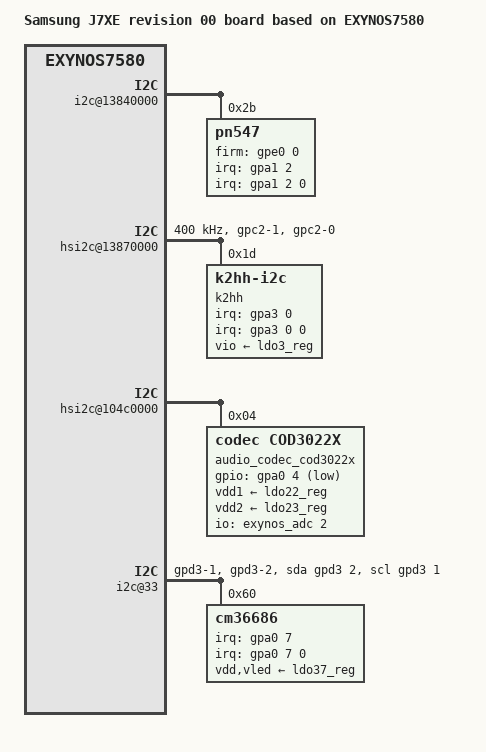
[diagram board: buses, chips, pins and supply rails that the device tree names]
/*
 * SAMSUNG A7XE board device tree source
 *
 * Copyright (c) 2014 Samsung Electronics Co., Ltd.
 *		http://www.samsung.com
 *
 * This program is free software; you can redistribute it and/or modify
 * it under the terms of the GNU General Public License version 2 as
 * published by the Free Software Foundation.
 */

/dts-v1/;
#include "exynos7580-reserve-2000MB-Ax.dtsi"
#include "exynos7580-j7xelte_common.dtsi"
#include "modem-carmen2-reserve-2000MB.dtsi"
#include "exynos7580-j7xelte_battery_00.dtsi"
#include "exynos7580-j7xelte_chn_cmcc_gpio_00.dtsi"
#include "exynos7580-a7xelte_mst_00.dtsi"

/ {
	model = "Samsung J7XE revision 00 board based on EXYNOS7580";
	model_info-chip = <7580>;
	model_info-platform = "android";
	model_info-subtype = "samsung";
	model_info-hw_rev = <0>;
	model_info-hw_rev_end = <0>;
	compatible = "samsung,exynos7580-universal7580,r01", "samsung,exynos7580";

	pinctrl@139B0000 {
		pmic_irq: pmic-irq {
			samsung,pins = "gpa0-2";
			samsung,pin-pud = <3>;
			samsung,pin-drv = <3>;
		};
		cod3022_irq: cod3022-irq {
			samsung,pins = "gpa0-4";
			samsung,pin-pud = <3>;
			samsung,pin-drv = <3>;
		};
		if_irq: if-irq {
			samsung,pins = "gpa0-5";
			samsung,pin-pud = <3>;
			samsung,pin-drv = <3>;
		};
		ps_als: ps_als {
			samsung,pins = "gpa0-7";
			samsung,pin-function = <0x0>;
			samsung,pin-pud = <0>;
			samsung,pin-drv = <0>;
		};
		attn_irq: attn-irq {
			samsung,pins = "gpa1-1";
			samsung,pin-function = <0xf>;
			samsung,pin-pud = <3>;
			samsung,pin-drv = <0>;
		};
		muic_irq: muic-irq {
			samsung,pins = "gpa1-3";
			samsung,pin-pud = <0>;
			samsung,pin-drv = <0>;
		};
		bhy_int: bhy-int {
			samsung,pins = "gpa3-0";
			samsung,pin-function = <0>;
			samsung,pin-pud = <1>;
			samsung,pin-drv = <0>;
		};
		dwmmc2_cd_ext_irq: dwmmc2_cd_ext_irq {
			samsung,pins = "gpa3-1";
			samsung,pin-function = <0xf>;
			samsung,pin-pud = <0>;
			samsung,pin-drv = <0>;
		};
		gpiodetect_irq: gpiodetect-irq {
			samsung,pins = "gpa3-4";
			samsung,pin-function = <0>;
			samsung,pin-pud = <0>;
			samsung,pin-drv = <0>;
		};
/*
		certify_hall_irq: certify-hall-irq {
			samsung,pins = "gpa3-5";
			samsung,pin-function = <0xf>;
			samsung,pin-pud = <0>;
			samsung,pin-drv = <0>;
		};

		hall_irq: hall_irq {
			samsung,pins = "gpa3-5";
			samsung,pin-function = <0xf>;
			samsung,pin-pud = <0>;
			samsung,pin-drv = <0>;
		};
*/
	};

	pinctrl@139C0000 {
		optical: optical {
			samsung,pins = "gpd3-1", "gpd3-2";
			samsung,pin-function = <0>;
			samsung,pin-pud = <0>;
			samsung,pin-drv = <0>;
		};
		sensor_i2c: sensor_i2c {
			samsung,pins = "gpc2-1", "gpc2-0";
			samsung,pin-function = <2>;
			samsung,pin-pud = <0>;
		};
		main_mic_bias_en:main-mic-bias-en {
			samsung,pins ="gpd2-7";
			samsung,pin-function = <1>;
			samsung,pin-pud = <0>;
			samsung,pin-con-pdn = <3>;
			samsung,pin-pud-pdn = <0>;
			samsung,pin-val = <0>;
		};
		/* Warm reset information from AP */
		pm_wrsti: pm-wrsti {
			samsung,pins = "gpe1-0";
			samsung,pin-con-pdn = <3>;
		};
		dbmd_reset: dbmd-reset {
			samsung,pins ="gpf1-6";
			samsung,pin-function = <1>;
			samsung,pin-pud = <1>;
			samsung,pin-con-pdn =<3>;
			samsung,pin-pud-pdn = <1>;
			samsung,pin-val = <0>;
		};
		dbmd_wakeup: dbmd-wakeup {
			samsung,pins ="gpf1-7";
			samsung,pin-function = <1>;
			samsung,pin-pud = <1>;
			samsung,pin-con-pdn =<3>;
			samsung,pin-pud-pdn = <1>;
			samsung,pin-val = <0>;
		};
	};

	i2c@13840000 {
		status = "okay";
		samsung,i2c-sda-delay = <100>;
        	samsung,i2c-max-bus-freq = <400000>;
		pinctrl-names = "default";
		pinctrl-0 = <&i2c7_bus>;
		
		pn547@2B {
			compatible = "pn547";
			reg = <0x2B>;
			interrupts = <2 0 0>;
			interrupt-parent = <&gpa1>;
			pn547,nfc_pd = <&gpc3 2 0x2>;
			pn547,firm-gpio = <&gpe0 0 0>;
			pn547,irq-gpio = <&gpa1 2 0>;
			clkctrl-reg = <0x1046600C>;
			pn547,nfc_clkreq = <&gpc3 3 0x2>;
			pn547,i2c_1p8 = "vdd_ldo3";
			pinctrl-names = "default";
			pinctrl-0 = <&nfc_n5_firm &nfc_n5_clk_req &nfc_pd &nfc_int>;
		};
	};

	hsi2c@13870000 {
		status = "okay";
		/*samsung,hs-mode;*/
		clock-frequency = <400000>;
		#address-cells = <1>;
		#size-cells = <0>;
		pinctrl-names = "default";
		pinctrl-0 = <&sensor_i2c>;

		k2hh@1D {
			compatible = "k2hh-i2c";
			reg = <0x1D>;
			interrupt-parent = <&gpa3>;
			interrupts = <0 0 0>;
			k2hh,irq_gpio = <&gpa3 0 0>;
			k2hh,vio-supply = <&ldo3_reg>;
			k2hh,axis_map_x = <0>;
			k2hh,axis_map_y = <1>;
			k2hh,axis_map_z = <2>;
			k2hh,negate_x = <0>;
			k2hh,negate_y = <0>;
			k2hh,negate_z = <1>;
			k2hh,poll_interval = <100>;
			k2hh,min_interval = <2>;
		};
	};
	
	hsi2c@104c0000 {
		audio_codec_cod3022x: cod3022x@04 {
			compatible = "codec,cod3022x";
			reg = <0x04>;
			ten-bit-address;
			vdd1-supply = <&ldo22_reg>;
			vdd2-supply = <&ldo23_reg>;
			pinctrl-names = "default";
			pinctrl-0 = <&cod3022_irq>;
			interrupt-parent = <&gpa0>;
			gpios = <&gpa0 4 0xf>;
			/* Mic Bias: 0->2.1v, 1->2.5v, 2->2.6v, 3->3.0v */
			mic-bias1-voltage = <1>;
			mic-bias2-voltage = <1>;
			use-btn-adc-mode;
			io-channels = <&exynos_adc 2>;
			io-channel-names = "adc-jack";
			#io-channel-cells = <1>;
			io-channel-ranges;
			but-zones-list = <&but_zones 226 0 245>, /* send/end */
					<&but_zones 582 246 315>, /* google */
					<&but_zones 115 316 520>, /* vol up */
					<&but_zones 114 521 900>; /* vol down */
			mic-adc-range = <1380>;
			btn-release-value = <1000>;
			mic-det-delay = <40>;
		};
	};

	i2c@33 {
		compatible = "i2c-gpio";
		gpios = <&gpd3 2 0	/* sda */
			&gpd3 1 0>;	/* scl */

		pinctrl-names = "default";
		pinctrl-0 = <&optical>;
		samsung,i2c-sda-delay = <100>;
		samsung,i2c-max-bus-freq = <400000>;
		#address-cells = <1>;
		#size-cells = <0>;
		status = "okay";

		cm36686@60 {
			compatible = "cm36686";
			reg = <0x60>;
			pinctrl-names = "dafault";
			pinctrl-0 = <&ps_als>;
			interrupt-parent = <&gpa0>;
			interrupts = <7 0 0>;
			cm36686,vdd-supply = <&ldo37_reg>;
			cm36686,vled-supply = <&ldo37_reg>;
			cm36686,irq_gpio = <&gpa0 7 0x00>;
			cm36686,default_hi_thd = <11>;
			cm36686,default_low_thd = <8>;
			cm36686,cancel_hi_thd = <10>;
			cm36686,cancel_low_thd = <7>;
			cm36686,default_trim = <0x0003>;
			cm36686,vdd_always_on = <0>;
			cm36686,vled_same_vdd = <1>;
		};
	};

	pinctrl@139B0000 {
		bt_enable: bt_enable {
			 samsung,pins = "gpa1-6";
			 samsung,pin-function = <1>;
			 samsung,pin-pud = <0>;
		};
	};

	pinctrl@139C0000 {
		uart0_rts: uart0-rts {
			samsung,pins = "gpb0-7";
			samsung,pin-function = <2>;
			samsung,pin-pud = <1>;
			samsung,pin-con-pdn = <3>;
			samsung,pin-pud-pdn = <1>;
		};

		uart0_cts: uart0-cts {
			samsung,pins = "gpb0-6";
			samsung,pin-function = <2>;
			samsung,pin-pud = <1>;
			samsung,pin-con-pdn = <3>;
			samsung,pin-pud-pdn = <1>;
		};

		uart0_tx: uart0-tx {
			samsung,pins = "gpb0-5";
			samsung,pin-function = <2>;
			samsung,pin-pud = <3>;
			samsung,pin-con-pdn = <3>;
			samsung,pin-pud-pdn = <3>;
		};

		uart0_rx: uart0-rx {
			samsung,pins = "gpb0-4";
			samsung,pin-function = <2>;
			samsung,pin-pud = <3>;
			samsung,pin-con-pdn = <3>;
			samsung,pin-pud-pdn = <3>;
		};
	};

	mif_pdata {
		pinctrl-names = "default";
		pinctrl-0 = <&cp_rst_n &ds_det>;

		/* To do: will be remove, for system revision */
		gpios = <&gpd0 0 0x0>,
		       <&gpd0 1 0x0>,
		       <&gpd0 2 0x0>,
		       <&gpd0 3 0x0>;

		modem_ctrl,gpio_cp_rst_n = <&gpe0 6 0x1>;
		mif,gpio_ds_det = <&gpd0 4 0x0>;

		mif,ap_clk_table = <
			/* khz */
			1600000
			1500000
			1400000
			1300000
			1200000
			1100000
			1000000
			900000
			800000
			700000
			600000
			500000
			400000
			300000
			>;

		mif,mif_clk_table = <
			/* khz */
			825000
			728000
			667000
			559000
			416000
			338000
			273000
			200000
			>;
	};

	pinctrl@139C0000 {
		ds_det: ds_det {
			samsung,pins = "gpd0-4";
			samsung,pin-function = <0>;	/* INPUT */
			samsung,pin-pud = <0>;
			samsung,pin-con-pdn = <3>;	/* PREV STATE */
			samsung,pin-pud-pdn = <0>;
		};

		cp_rst_n: cp_rst_n {
			samsung,pins = "gpe0-6";
			samsung,pin-function = <1>;	/* OUTPUT */
			samsung,pin-pud = <0>;		/* PU & PD DISABLE */
			samsung,pin-con-pdn = <1>;	/* OUTPUT 1 */
			samsung,pin-pud-pdn = <0>;	/* PU & PD DISABLE */
		};

		leden_gpio: leden_gpio {
			samsung,pins = "gpd2-3";
			samsung,pin-function = <1>;
			samsung,pin-pud = <0>;
			samsung,pin-val = <1>;
		};
	};
};
